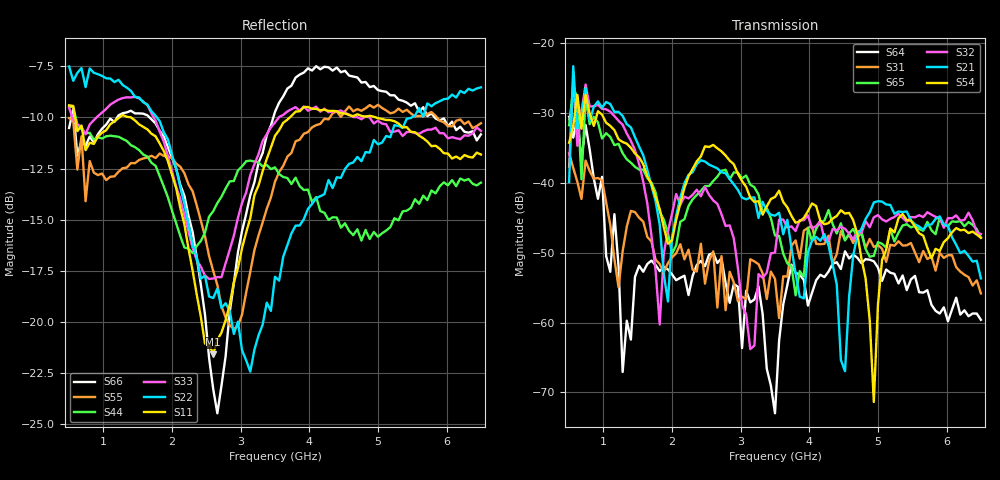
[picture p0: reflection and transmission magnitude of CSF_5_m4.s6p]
!Keysight Technologies,M9804A,MY58100912,A.14.10.03
!Date: Thursday, April 27, 2023 10:28:33
!Correction: S11(C  6-Port  )
!S12(C  6-Port  )
!S13(C  6-Port  )
!S14(C  6-Port  )
!S15(C  6-Port  )
!S16(C  6-Port  )
!S21(C  6-Port  )
!S22(C  6-Port  )
!S23(C  6-Port  )
!S24(C  6-Port  )
!S25(C  6-Port  )
!S26(C  6-Port  )
!S31(C  6-Port  )
!S32(C  6-Port  )
!S33(C  6-Port  )
!S34(C  6-Port  )
!S35(C  6-Port  )
!S36(C  6-Port  )
!S41(C  6-Port  )
!S42(C  6-Port  )
!S43(C  6-Port  )
!S44(C  6-Port  )
!S45(C  6-Port  )
!S46(C  6-Port  )
!S51(C  6-Port  )
!S52(C  6-Port  )
!S53(C  6-Port  )
!S54(C  6-Port  )
!S55(C  6-Port  )
!S56(C  6-Port  )
!S61(C  6-Port  )
!S62(C  6-Port  )
!S63(C  6-Port  )
!S64(C  6-Port  )
!S65(C  6-Port  )
!S66(C  6-Port  )
!S6P File: Measurement: :
# Hz S  RI  R 50
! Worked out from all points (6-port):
!   101 points, 500 MHz to 6.5 GHz, reference 50 ohm
!   strongest paths, dB at 500 MHz, 2 GHz, 3.5 GHz, 5 GHz, 6.5 GHz:
!     S54: -34.2, -48.2, -42.0, -57.4, -47.9
!     S21: -39.9, -47.7, -44.7, -42.6, -53.7
!     S32: -37.7, -44.4, -50.0, -44.6, -47.3
!     S65: -31.7, -50.1, -47.5, -48.5, -47.8
!     S31: -35.8, -50.6, -53.7, -48.9, -55.8
!     S64: -30.5, -53.1, -73.0, -52.1, -59.6
!   lowest |S11| = -21.6 dB at 2.6 GHz (marker M1), VSWR 1.18, Z = 42.6 + j2.07 ohm
!   |S11| at or under -10 dB: 587.3 MHz to 1.232 GHz (644.9 MHz wide, 70.9 % of centre); 1.403 GHz to 3.715 GHz (2.312 GHz wide, 90.4 % of centre); 4.971 GHz to end of sweep
